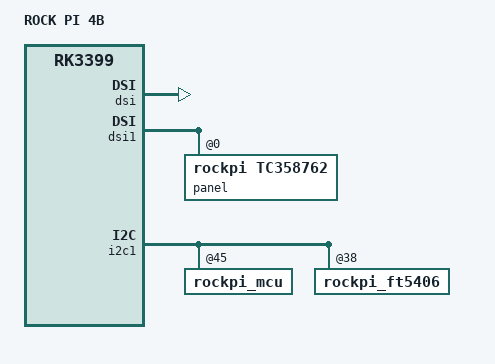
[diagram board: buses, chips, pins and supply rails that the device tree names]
/dts-v1/;
/plugin/;

/ {
	model = "ROCK PI 4B";
	compatible = "rockchip,rockpi","rockchip,rk3399";

	fragment@0 {
		target = <&dsi>;

		__overlay__ {
			status = "okay";
		};
	};

	fragment@1 {
		target = <&dsi1>;

		__overlay__ {
			rockchip,dual-channel = <&dsi>;
			status = "okay";
			
			panel: panel@0 {
			compatible ="rockpi,tc358762";
			reg = <0>;
			status = "okay";
	
			};
		};
	};

	fragment@2 {
		target = <&i2c1>;

		__overlay__ {
			rockpi_mcu: rockpi_mcu@45 {
				status = "okay";
			};

			rockpi_ft5406: rockpi_ft5406@38 {
				status = "okay";
			};
		};
	};
};
